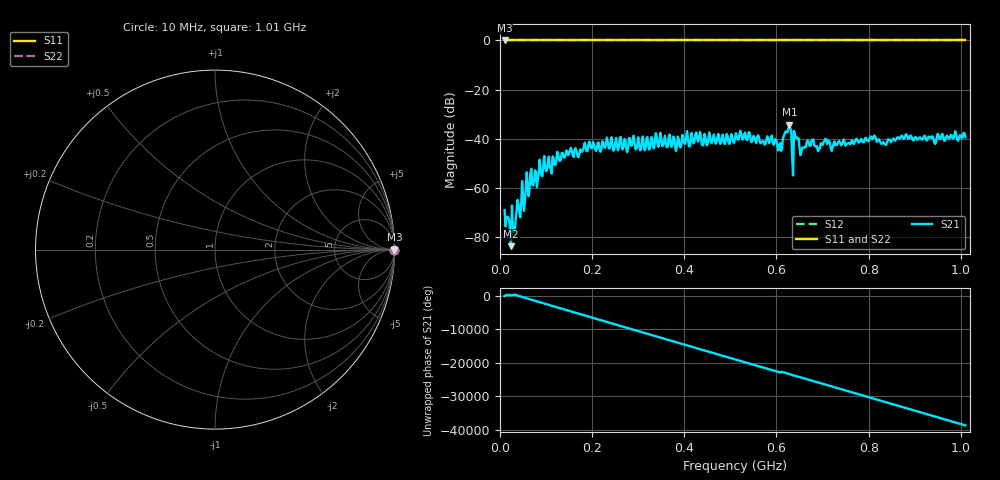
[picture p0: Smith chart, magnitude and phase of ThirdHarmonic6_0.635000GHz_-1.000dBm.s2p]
! 8/15/2025 8:59:16 PM
! C:\ANRITSUVNA\TEMP\TEMP.S2P
! CHANNEL.1
! TR.MEASUREMENT
! RAW.DATA
! RF.CORRECTION.OFF
! AVERAGING.OFF
! IF.BANDWIDTH: 5KHZ
! SWEEPTYPE:  FREQ.SWEEP(Linear)
! Reference Plane Port Info
! PORT:  PORT1  PORT2
! DISTANCE:  0  m  0  m
! TIME:  0  s  0  s
! PHASE.OFFSET:  0  deg.  0  deg.
! LOSS:  0  dB  0  dB
! REF.LOSS:  0  dB  0  dB
! REF.FREQ:  0  Hz  0  Hz
! Power Info
! POWER:  -20  dBm  -20  dBm
! EFF.POWER:  -20  dBm  -20  dBm
! SOURCE.ATTEN:  0  dB  0  dB
! TEST.ATTEN:  0  dB  0  dB
# GHZ S RI R 50.0
! FREQ.GHZ  S11RE  S11IM  S21RE  S21IM  S12RE  S12IM  S22RE  S22IM
!; PortSelection: Port_12
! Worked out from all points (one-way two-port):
!   501 points, 10 MHz to 1.01 GHz, reference 50 ohm
!   highest |S21| = -34.25 dB at 628 MHz (marker M1); lowest = -83.6 dB at 24 MHz (marker M2)
!   lowest |S11| = 0.0 dB at 10 MHz (marker M3)
!   |S11| at or under -10 dB: nowhere
!   |S22| runs from 0.0 to 0.0 dB; largest |S21 - S12| = 1
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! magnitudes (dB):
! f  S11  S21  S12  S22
! 10 MHz  0.0  -69.0  0.0  0.0
! 24 MHz  0.0  -83.6  0.0  0.0
! 32 MHz  0.0  -77.9  0.0  0.0
! 38 MHz  0.0  -64.8  0.0  0.0
! 70 MHz  0.0  -58.6  0.0  0.0
! 126 MHz  0.0  -45.7  0.0  0.0
! 178 MHz  0.0  -45.2  0.0  0.0
! 344 MHz  0.0  -43.3  0.0  0.0
! 510 MHz  0.0  -40.0  0.0  0.0
! 586 MHz  0.0  -41.2  0.0  0.0
! 608 MHz  0.0  -41.8  0.0  0.0
! 628 MHz  0.0  -34.2  0.0  0.0
! 632 MHz  0.0  -36.8  0.0  0.0
! 638 MHz  0.0  -36.8  0.0  0.0
! 642 MHz  0.0  -39.6  0.0  0.0
! 654 MHz  0.0  -45.2  0.0  0.0
! 678 MHz  0.0  -40.4  0.0  0.0
! 690 MHz  0.0  -45.0  0.0  0.0
! 710 MHz  0.0  -42.1  0.0  0.0
! 720 MHz  0.0  -44.9  0.0  0.0
! 844 MHz  0.0  -40.4  0.0  0.0
! 1.01 GHz  0.0  -39.3  0.0  0.0
